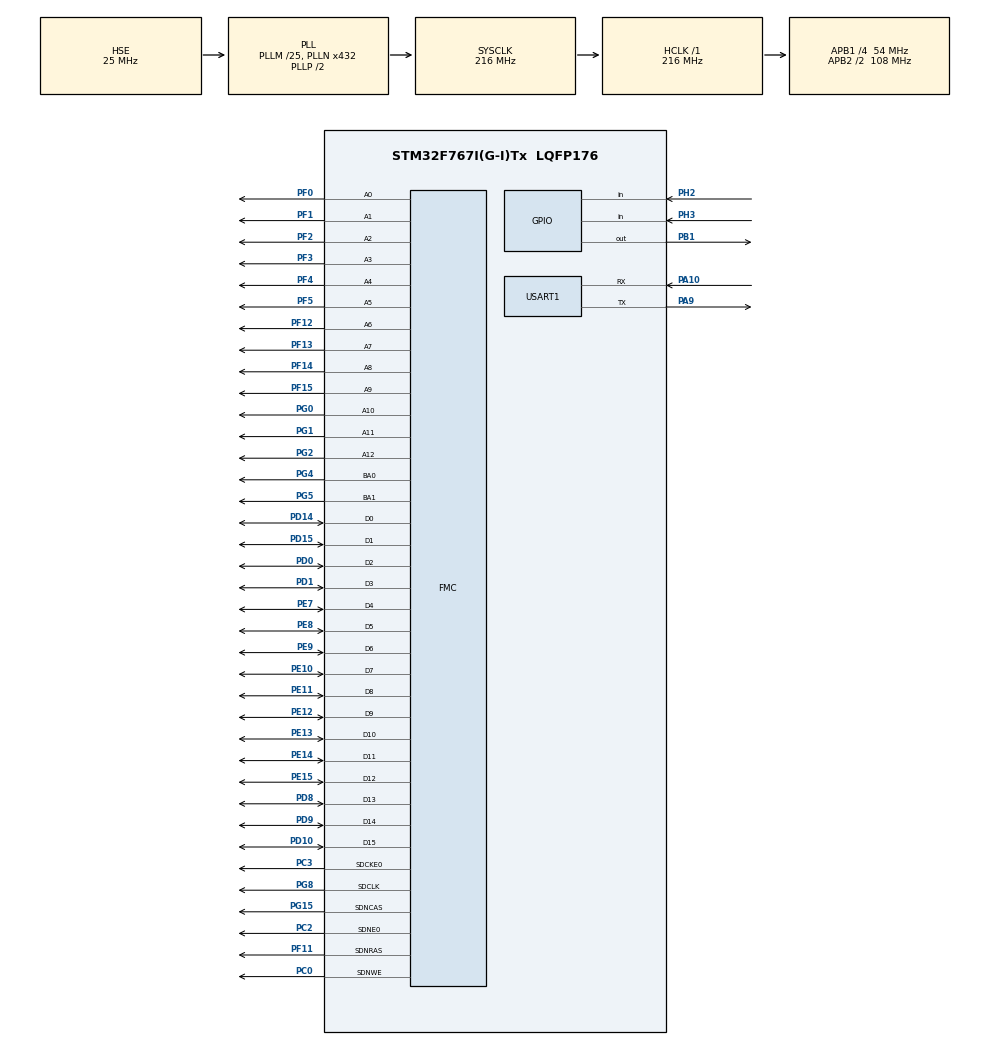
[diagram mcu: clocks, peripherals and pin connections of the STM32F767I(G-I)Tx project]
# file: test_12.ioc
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CORTEX_M7.ART_ACCELERATOR_ENABLE=1
CORTEX_M7.AccessPermission_Spec=MPU_REGION_FULL_ACCESS
CORTEX_M7.BaseAddress_Spec=0xc0000000
CORTEX_M7.CPU_DCache=Enabled
CORTEX_M7.CPU_ICache=Enabled
CORTEX_M7.DisableExec_Spec=MPU_INSTRUCTION_ACCESS_ENABLE
CORTEX_M7.IsBufferable_Spec=MPU_ACCESS_BUFFERABLE
CORTEX_M7.IsCacheable_Spec=MPU_ACCESS_CACHEABLE
CORTEX_M7.PREFETCH_ENABLE=1
CORTEX_M7.Size_Spec=MPU_REGION_SIZE_32MB
CORTEX_M7.SubRegionDisable_Spec=0x0
CORTEX_M7.default_mode_Activation=1
FMC.CASLatency1=FMC_SDRAM_CAS_LATENCY_3
FMC.ColumnBitsNumber1=FMC_SDRAM_COLUMN_BITS_NUM_9
FMC.ExitSelfRefreshDelay1=8
FMC.LoadToActiveDelay1=2
FMC.RCDDelay1=2
FMC.RPDelay1=2
FMC.ReadBurst1=FMC_SDRAM_RBURST_ENABLE
FMC.ReadPipeDelay1=FMC_SDRAM_RPIPE_DELAY_1
FMC.RowCycleDelay1=6
FMC.SDClockPeriod1=FMC_SDRAM_CLOCK_PERIOD_2
FMC.SelfRefreshTime1=6
FMC.WriteRecoveryTime1=4
Mcu.Family=STM32F7
Mcu.Name=STM32F767I(G-I)Tx
Mcu.Package=LQFP176
NVIC.PriorityGroup=NVIC_PRIORITYGROUP_2
NVIC.USART1_IRQn=true\:3\:3\:true\:false\:true\:true\:true\:true
PA10.GPIO_PuPd=GPIO_PULLUP
PA10.Mode=Asynchronous
PA10.Signal=USART1_RX
PA9.GPIO_ModeDefaultPP=GPIO_MODE_AF_PP
PA9.GPIO_PuPd=GPIO_PULLUP
PA9.GPIO_Speed=GPIO_SPEED_FREQ_VERY_HIGH
PA9.Mode=Asynchronous
PA9.Signal=USART1_TX
PB1.GPIO_ModeDefaultOutputPP=GPIO_MODE_OUTPUT_PP
PB1.GPIO_PuPd=GPIO_PULLUP
PB1.GPIO_Speed=GPIO_SPEED_FREQ_HIGH
PB1.PinState=GPIO_PIN_SET
PB1.Signal=GPIO_Output
PC0.GPIO_Mode=GPIO_MODE_AF_PP
PC0.GPIO_PuPd=GPIO_PULLUP
PC0.GPIO_Speed_High_Default=GPIO_SPEED_FREQ_HIGH
PC0.Signal=FMC_SDNWE
PC2.GPIO_PuPd=GPIO_PULLUP
PC2.GPIO_Speed_High_Default=GPIO_SPEED_FREQ_HIGH
PC2.Mode=SdramChipSelect1_1
PC2.Signal=FMC_SDNE0
PC3.GPIO_PuPd=GPIO_PULLUP
PC3.GPIO_Speed_High_Default=GPIO_SPEED_FREQ_HIGH
PC3.Mode=SdramChipSelect1_1
PC3.Signal=FMC_SDCKE0
PD0.GPIO_PuPd=GPIO_PULLUP
PD0.GPIO_Speed_High_Default=GPIO_SPEED_FREQ_HIGH
PD0.Signal=FMC_D2_DA2
PD1.GPIO_PuPd=GPIO_PULLUP
PD1.GPIO_Speed_High_Default=GPIO_SPEED_FREQ_HIGH
PD1.Signal=FMC_D3_DA3
PD10.GPIO_PuPd=GPIO_PULLUP
PD10.GPIO_Speed_High_Default=GPIO_SPEED_FREQ_HIGH
PD10.Signal=FMC_D15_DA15
PD14.GPIO_PuPd=GPIO_PULLUP
PD14.GPIO_Speed_High_Default=GPIO_SPEED_FREQ_HIGH
PD14.Signal=FMC_D0_DA0
PD15.GPIO_PuPd=GPIO_PULLUP
PD15.GPIO_Speed_High_Default=GPIO_SPEED_FREQ_HIGH
PD15.Signal=FMC_D1_DA1
PD8.GPIO_PuPd=GPIO_PULLUP
PD8.GPIO_Speed_High_Default=GPIO_SPEED_FREQ_HIGH
PD8.Signal=FMC_D13_DA13
PD9.GPIO_PuPd=GPIO_PULLUP
PD9.GPIO_Speed_High_Default=GPIO_SPEED_FREQ_HIGH
PD9.Signal=FMC_D14_DA14
PE0.GPIO_PuPd=GPIO_PULLUP
PE0.GPIO_Speed_High_Default=GPIO_SPEED_FREQ_HIGH
PE0.Signal=FMC_NBL0
PE1.GPIO_Mode=GPIO_MODE_AF_PP
PE1.GPIO_PuPd=GPIO_PULLUP
PE1.GPIO_Speed_High_Default=GPIO_SPEED_FREQ_HIGH
PE1.Signal=FMC_NBL1
PE10.GPIO_PuPd=GPIO_PULLUP
PE10.GPIO_Speed_High_Default=GPIO_SPEED_FREQ_HIGH
PE10.Signal=FMC_D7_DA7
PE11.GPIO_PuPd=GPIO_PULLUP
PE11.GPIO_Speed_High_Default=GPIO_SPEED_FREQ_HIGH
PE11.Signal=FMC_D8_DA8
PE12.GPIO_PuPd=GPIO_PULLUP
PE12.GPIO_Speed_High_Default=GPIO_SPEED_FREQ_HIGH
PE12.Signal=FMC_D9_DA9
PE13.GPIO_PuPd=GPIO_PULLUP
PE13.GPIO_Speed_High_Default=GPIO_SPEED_FREQ_HIGH
PE13.Signal=FMC_D10_DA10
PE14.GPIO_PuPd=GPIO_PULLUP
PE14.GPIO_Speed_High_Default=GPIO_SPEED_FREQ_HIGH
PE14.Signal=FMC_D11_DA11
PE15.GPIO_PuPd=GPIO_PULLUP
PE15.GPIO_Speed_High_Default=GPIO_SPEED_FREQ_HIGH
PE15.Signal=FMC_D12_DA12
PE7.GPIO_PuPd=GPIO_PULLUP
PE7.GPIO_Speed_High_Default=GPIO_SPEED_FREQ_HIGH
PE7.Signal=FMC_D4_DA4
PE8.GPIO_PuPd=GPIO_PULLUP
PE8.GPIO_Speed_High_Default=GPIO_SPEED_FREQ_HIGH
PE8.Signal=FMC_D5_DA5
PE9.GPIO_PuPd=GPIO_PULLUP
PE9.GPIO_Speed_High_Default=GPIO_SPEED_FREQ_HIGH
PE9.Signal=FMC_D6_DA6
PF0.GPIO_PuPd=GPIO_PULLUP
PF0.GPIO_Speed_High_Default=GPIO_SPEED_FREQ_HIGH
PF0.Signal=FMC_A0
PF1.GPIO_PuPd=GPIO_PULLUP
PF1.GPIO_Speed_High_Default=GPIO_SPEED_FREQ_HIGH
PF1.Signal=FMC_A1
PF11.GPIO_PuPd=GPIO_PULLUP
PF11.GPIO_Speed_High_Default=GPIO_SPEED_FREQ_HIGH
PF11.Signal=FMC_SDNRAS
PF12.GPIO_PuPd=GPIO_PULLUP
PF12.GPIO_Speed_High_Default=GPIO_SPEED_FREQ_HIGH
PF12.Signal=FMC_A6
PF13.GPIO_PuPd=GPIO_PULLUP
PF13.GPIO_Speed_High_Default=GPIO_SPEED_FREQ_HIGH
PF13.Signal=FMC_A7
PF14.GPIO_PuPd=GPIO_PULLUP
PF14.GPIO_Speed_High_Default=GPIO_SPEED_FREQ_HIGH
PF14.Signal=FMC_A8
PF15.GPIO_PuPd=GPIO_PULLUP
PF15.GPIO_Speed_High_Default=GPIO_SPEED_FREQ_HIGH
PF15.Signal=FMC_A9
PF2.GPIO_PuPd=GPIO_PULLUP
PF2.GPIO_Speed_High_Default=GPIO_SPEED_FREQ_HIGH
PF2.Signal=FMC_A2
PF3.GPIO_PuPd=GPIO_PULLUP
PF3.GPIO_Speed_High_Default=GPIO_SPEED_FREQ_HIGH
PF3.Signal=FMC_A3
PF4.GPIO_PuPd=GPIO_PULLUP
PF4.GPIO_Speed_High_Default=GPIO_SPEED_FREQ_HIGH
PF4.Signal=FMC_A4
PF5.GPIO_PuPd=GPIO_PULLUP
PF5.GPIO_Speed_High_Default=GPIO_SPEED_FREQ_HIGH
PF5.Signal=FMC_A5
PG0.GPIO_PuPd=GPIO_PULLUP
PG0.GPIO_Speed_High_Default=GPIO_SPEED_FREQ_HIGH
PG0.Signal=FMC_A10
PG1.GPIO_PuPd=GPIO_PULLUP
PG1.GPIO_Speed_High_Default=GPIO_SPEED_FREQ_HIGH
PG1.Signal=FMC_A11
PG15.GPIO_PuPd=GPIO_PULLUP
PG15.GPIO_Speed_High_Default=GPIO_SPEED_FREQ_HIGH
PG15.Signal=FMC_SDNCAS
PG2.GPIO_PuPd=GPIO_PULLUP
PG2.GPIO_Speed_High_Default=GPIO_SPEED_FREQ_HIGH
PG2.Signal=FMC_A12
PG4.GPIO_PuPd=GPIO_PULLUP
PG4.GPIO_Speed_High_Default=GPIO_SPEED_FREQ_HIGH
PG4.Signal=FMC_A14_BA0
PG5.GPIO_PuPd=GPIO_PULLUP
PG5.GPIO_Speed_High_Default=GPIO_SPEED_FREQ_HIGH
PG5.Signal=FMC_A15_BA1
PG8.GPIO_PuPd=GPIO_PULLUP
PG8.GPIO_Speed_High_Default=GPIO_SPEED_FREQ_HIGH
PG8.Signal=FMC_SDCLK
PH0/OSC_IN.Mode=HSE-External-Oscillator
PH0/OSC_IN.Signal=RCC_OSC_IN
PH1/OSC_OUT.Mode=HSE-External-Oscillator
PH1/OSC_OUT.Signal=RCC_OSC_OUT
PH2.GPIO_PuPd=GPIO_PULLUP
PH2.Signal=GPIO_Input
PH3.GPIO_PuPd=GPIO_PULLUP
PH3.Signal=GPIO_Input
ProjectManager.HeapSize=0x200
ProjectManager.StackSize=0x400
ProjectManager.TargetToolchain=MDK-ARM V5.32
RCC.AHBFreq_Value=216000000
RCC.APB1CLKDivider=RCC_HCLK_DIV4
RCC.APB1Freq_Value=54000000
RCC.APB1TimFreq_Value=108000000
RCC.APB2CLKDivider=RCC_HCLK_DIV2
RCC.APB2Freq_Value=108000000
RCC.APB2TimFreq_Value=216000000
RCC.CortexFreq_Value=216000000
RCC.HCLKFreq_Value=216000000
RCC.HSE_VALUE=25000000
RCC.HSI_VALUE=16000000
RCC.LSE_VALUE=32768
RCC.PLLM=25
RCC.PLLN=432
RCC.PLLSourceVirtual=RCC_PLLSOURCE_HSE
RCC.SYSCLKFreq_VALUE=216000000
RCC.SYSCLKSource=RCC_SYSCLKSOURCE_PLLCLK
RCC.USBFreq_Value=216000000
RCC.VCOOutputFreq_Value=432000000
SH.FMC_A0.0=FMC_A0,13b-sda1
SH.FMC_A1.0=FMC_A1,13b-sda1
SH.FMC_A10.0=FMC_A10,13b-sda1
SH.FMC_A11.0=FMC_A11,13b-sda1
SH.FMC_A12.0=FMC_A12,13b-sda1
SH.FMC_A14_BA0.0=FMC_BA0,FourSdramBanks1
SH.FMC_A15_BA1.0=FMC_BA1,FourSdramBanks1
SH.FMC_A2.0=FMC_A2,13b-sda1
SH.FMC_A3.0=FMC_A3,13b-sda1
SH.FMC_A4.0=FMC_A4,13b-sda1
SH.FMC_A5.0=FMC_A5,13b-sda1
SH.FMC_A6.0=FMC_A6,13b-sda1
SH.FMC_A7.0=FMC_A7,13b-sda1
SH.FMC_A8.0=FMC_A8,13b-sda1
SH.FMC_A9.0=FMC_A9,13b-sda1
SH.FMC_D0_DA0.0=FMC_D0,sd-16b-d1
SH.FMC_D10_DA10.0=FMC_D10,sd-16b-d1
SH.FMC_D11_DA11.0=FMC_D11,sd-16b-d1
SH.FMC_D12_DA12.0=FMC_D12,sd-16b-d1
SH.FMC_D13_DA13.0=FMC_D13,sd-16b-d1
SH.FMC_D14_DA14.0=FMC_D14,sd-16b-d1
SH.FMC_D15_DA15.0=FMC_D15,sd-16b-d1
SH.FMC_D1_DA1.0=FMC_D1,sd-16b-d1
SH.FMC_D2_DA2.0=FMC_D2,sd-16b-d1
SH.FMC_D3_DA3.0=FMC_D3,sd-16b-d1
SH.FMC_D4_DA4.0=FMC_D4,sd-16b-d1
SH.FMC_D5_DA5.0=FMC_D5,sd-16b-d1
SH.FMC_D6_DA6.0=FMC_D6,sd-16b-d1
SH.FMC_D7_DA7.0=FMC_D7,sd-16b-d1
SH.FMC_D8_DA8.0=FMC_D8,sd-16b-d1
SH.FMC_D9_DA9.0=FMC_D9,sd-16b-d1
SH.FMC_NBL0.0=FMC_NBL0
SH.FMC_NBL1.0=FMC_NBL1
SH.FMC_SDCLK.0=FMC_SDCLK,13b-sda1
SH.FMC_SDNCAS.0=FMC_SDNCAS,13b-sda1
SH.FMC_SDNRAS.0=FMC_SDNRAS,13b-sda1
SH.FMC_SDNWE.0=FMC_SDNWE,13b-sda1
USART1.VirtualMode-Asynchronous=VM_ASYNC
board=custom

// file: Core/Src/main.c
/* USER CODE BEGIN Header */
/**
  ******************************************************************************
  * @file           : main.c
  * @brief          : Main program body
  ******************************************************************************
  * @attention
  *
  * Copyright (c) 2022 STMicroelectronics.
  * All rights reserved.
  *
  * This software is licensed under terms that can be found in the LICENSE file
  * in the root directory of this software component.
  * If no LICENSE file comes with this software, it is provided AS-IS.
  *
  ******************************************************************************
  */
/* USER CODE END Header */
#include "main.h"
#include "usart.h"
#include "gpio.h"
#include "fmc.h"

/* USER CODE BEGIN Includes */
#include "stdio.h"
#include "sys.h"
#include "key.h"
/* USER CODE END Includes */

/* USER CODE BEGIN PD */
#define LED0_Toggle (HAL_GPIO_TogglePin(GPIOB, GPIO_PIN_1))
/* USER CODE END PD */

/* USER CODE BEGIN PV */
u16 testsram[250000] __attribute__((at(0XC0000000)));//测试用数组
/* USER CODE END PV */

void SystemClock_Config(void);
static void MPU_Config(void);

/* USER CODE BEGIN 0 */
//////////////////////////////////////////////////////////////////////////////////
//加入以下代码,支持printf函数,而不需要选择use MicroLIB
//#define PUTCHAR_PROTOTYPE int fputc(int ch, FILE *f)
#if 1
#pragma import(__use_no_semihosting)
//标准库需要的支持函数
struct __FILE
{
	int handle;
};

FILE __stdout;
//定义_sys_exit()以避免使用半主机模式
void _sys_exit(int x)
{
	x = x;
}
//重定义fputc函数
int fputc(int ch, FILE *f)
{
	while((USART1->ISR&0X40)==0);//循环发送,直到发送完毕
	USART1->TDR=(u8)ch;
	return ch;
}
#endif

//SDRAM内存测试
void fsmc_sdram_test(u16 x,u16 y)
{
	u32 i=0;
	u32 temp=0;
	u32 sval=0;	//在地址0读到的数据
	printf("Ex Memory Test:    0KB \r\n");
	//每隔16K字节,写入一个数据,总共写入2048个数据,刚好是32M字节
	for(i=0;i<32*1024*1024;i+=16*1024)
	{
		*(vu32*)(Bank5_SDRAM_ADDR+i)=temp;
		temp++;
	}
	//依次读出之前写入的数据,进行校验
 	for(i=0;i<32*1024*1024;i+=16*1024)
	{
  		temp=*(vu32*)(Bank5_SDRAM_ADDR+i);
		if(i==0)sval=temp;
 		else if(temp<=sval)break;//后面读出的数据一定要比第一次读到的数据大.
		printf("SDRAM Capacity:%dKB\r\n",(u16)(temp-sval+1)*16);//打印SDRAM容量
 	}
}
/* USER CODE END 0 */

int main(void)
{
  /* USER CODE BEGIN 1 */
  u8 key;
  u16 i=0;
  u32 ts=0;
  /* USER CODE END 1 */

  /* MPU Configuration--------------------------------------------------------*/
  MPU_Config();

  /* Enable I-Cache---------------------------------------------------------*/
  SCB_EnableICache();

  /* Enable D-Cache---------------------------------------------------------*/
  SCB_EnableDCache();

  /* MCU Configuration--------------------------------------------------------*/

  /* Reset of all peripherals, Initializes the Flash interface and the Systick. */
  HAL_Init();

  /* Configure the system clock */
  SystemClock_Config();

  /* Initialize all configured peripherals */
  MX_GPIO_Init();
  MX_FMC_Init();
  MX_USART1_UART_Init();
  /* USER CODE BEGIN 2 */
  printf("\r\nAPOLLO STM32F4/F7\r\n");
  printf("SDRAM TEST\r\n");
  printf("2022/7/25\r\n");
  printf("KEY0:Test Sram\r\n");
  printf("KEY1:TEST Data\r\n\r\n");

  for(ts=0;ts<250000;ts++)
  {
	testsram[ts]=ts;//预存测试数据
  }
  /* USER CODE END 2 */

  /* Infinite loop */
  /* USER CODE BEGIN WHILE */
  while (1)
  {
	key=KEY_Scan(0);//不支持连按
	if(key==KEY0_PRES)fsmc_sdram_test(30,170);//测试SRAM容量
	else if(key==KEY1_PRES)//打印预存测试数据
	{
		for(ts=0;ts<250000;ts++)
		{
			printf("testsram[%d]:%d\r\n",ts,testsram[ts]);
		}
	}else delay_ms(10);
	i++;
	printf("%d\r\n",i);
	if(i==1000)//DS0闪烁.
	{
		i=0;
		LED0_Toggle;
 	}
    /* USER CODE END WHILE */

  }
}

void SystemClock_Config(void)
{
  RCC_OscInitTypeDef RCC_OscInitStruct = {0};
  RCC_ClkInitTypeDef RCC_ClkInitStruct = {0};

  /** Configure the main internal regulator output voltage
  */
  __HAL_RCC_PWR_CLK_ENABLE();
  __HAL_PWR_VOLTAGESCALING_CONFIG(PWR_REGULATOR_VOLTAGE_SCALE1);

  /** Initializes the RCC Oscillators according to the specified parameters
  * in the RCC_OscInitTypeDef structure.
  */
  RCC_OscInitStruct.OscillatorType = RCC_OSCILLATORTYPE_HSE;
  RCC_OscInitStruct.HSEState = RCC_HSE_ON;
  RCC_OscInitStruct.PLL.PLLState = RCC_PLL_ON;
  RCC_OscInitStruct.PLL.PLLSource = RCC_PLLSOURCE_HSE;
  RCC_OscInitStruct.PLL.PLLM = 25;
  RCC_OscInitStruct.PLL.PLLN = 432;
  RCC_OscInitStruct.PLL.PLLP = RCC_PLLP_DIV2;
  RCC_OscInitStruct.PLL.PLLQ = 2;
  RCC_OscInitStruct.PLL.PLLR = 2;
  if (HAL_RCC_OscConfig(&RCC_OscInitStruct) != HAL_OK)
  {
    Error_Handler();
  }

  /** Activate the Over-Drive mode
  */
  if (HAL_PWREx_EnableOverDrive() != HAL_OK)
  {
    Error_Handler();
  }

  /** Initializes the CPU, AHB and APB buses clocks
  */
  RCC_ClkInitStruct.ClockType = RCC_CLOCKTYPE_HCLK|RCC_CLOCKTYPE_SYSCLK
                              |RCC_CLOCKTYPE_PCLK1|RCC_CLOCKTYPE_PCLK2;
  RCC_ClkInitStruct.SYSCLKSource = RCC_SYSCLKSOURCE_PLLCLK;
  RCC_ClkInitStruct.AHBCLKDivider = RCC_SYSCLK_DIV1;
  RCC_ClkInitStruct.APB1CLKDivider = RCC_HCLK_DIV4;
  RCC_ClkInitStruct.APB2CLKDivider = RCC_HCLK_DIV2;

  if (HAL_RCC_ClockConfig(&RCC_ClkInitStruct, FLASH_LATENCY_7) != HAL_OK)
  {
    Error_Handler();
  }
}

/* MPU Configuration */

void MPU_Config(void)
{
  MPU_Region_InitTypeDef MPU_InitStruct = {0};

  /* Disables the MPU */
  HAL_MPU_Disable();

  /** Initializes and configures the Region and the memory to be protected
  */
  MPU_InitStruct.Enable = MPU_REGION_ENABLE;
  MPU_InitStruct.Number = MPU_REGION_NUMBER0;
  MPU_InitStruct.BaseAddress = 0xc0000000;
  MPU_InitStruct.Size = MPU_REGION_SIZE_32MB;
  MPU_InitStruct.SubRegionDisable = 0x0;
  MPU_InitStruct.TypeExtField = MPU_TEX_LEVEL0;
  MPU_InitStruct.AccessPermission = MPU_REGION_FULL_ACCESS;
  MPU_InitStruct.DisableExec = MPU_INSTRUCTION_ACCESS_ENABLE;
  MPU_InitStruct.IsShareable = MPU_ACCESS_SHAREABLE;
  MPU_InitStruct.IsCacheable = MPU_ACCESS_CACHEABLE;
  MPU_InitStruct.IsBufferable = MPU_ACCESS_BUFFERABLE;

  HAL_MPU_ConfigRegion(&MPU_InitStruct);
  /* Enables the MPU */
  HAL_MPU_Enable(MPU_PRIVILEGED_DEFAULT);

}

void Error_Handler(void)
{
  __disable_irq();
  while (1)
  {
  }
}
